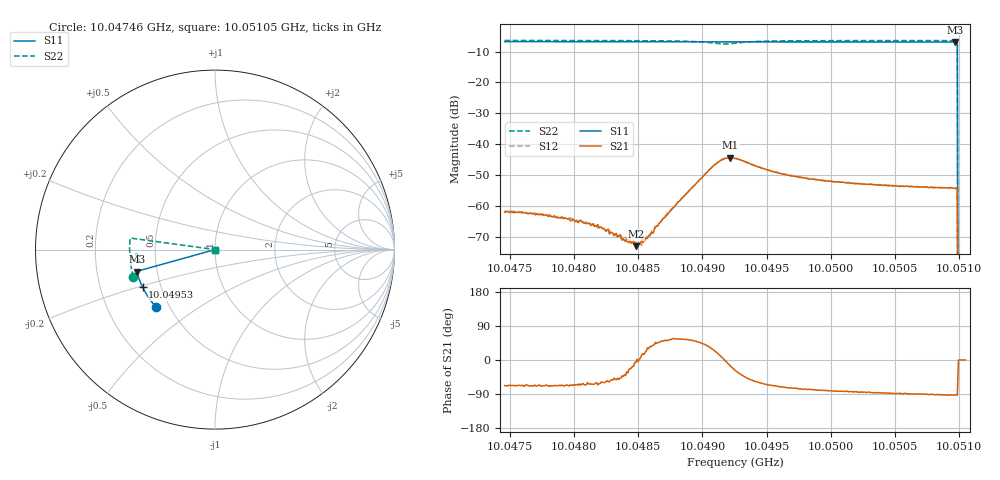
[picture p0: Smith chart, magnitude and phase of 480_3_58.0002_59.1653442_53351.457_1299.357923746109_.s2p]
#  HZ  S  RI  R  50.00
! Rohde & Schwarz Vector Network Analyzer
! Rohde-Schwarz,ZNB20-2Port,1311601062101988,3.16
! Created: UTC 3/21/2024, 1:11:51 AM
! freq[Hz]  re:S11  im:S11  re:S21  im:S21  re:S12  im:S12  re:S22  im:S22
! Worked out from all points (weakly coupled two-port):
!   401 points, 10.04746 GHz to 10.05105 GHz, reference 50 ohm
!   highest |S21| = -44.35 dB at 10.04922 GHz (marker M1); lowest = -73.0 dB at 10.04848 GHz (marker M2)
!   lowest |S11| = -6.9 dB at 10.05097 GHz (marker M3), VSWR 2.65, Z = 19.2 - j5.89 ohm
!   |S11| at or under -10 dB: 10.05099 GHz to end of sweep
!   |S22| runs from - to -6.4 dB; largest |S21 - S12| = 0.00043
!   S11 on the Smith chart (normalised r, x): 10.04746 GHz: 0.42, -0.35; 10.04953 GHz: 0.39, -0.21; 10.05105 GHz: 1.00, +0.00
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1.0047458e10  -0.326 -0.3224  0.000306 -0.000731  0.000373 -0.000756  -0.4541 -0.1526
1.0047818e10  -0.3415 -0.3044  0.000262 -0.000635  0.000297 -0.00062  -0.4604 -0.1286
1.004806e10  -0.3516 -0.2919  0.000246 -0.000497  0.000268 -0.000482  -0.4642 -0.1119
1.0048204e10  -0.3574 -0.2845  0.000213 -0.000403  0.000265 -0.000374  -0.4661 -0.1017
1.0048347e10  -0.363 -0.2769  0.000203 -0.000258  0.00025 -0.000245  -0.4676 -0.0909
1.0048383e10  -0.3644 -0.2749  0.000213 -0.000205  0.000252 -0.000187  -0.4678 -0.0881
1.0048482e10  -0.368 -0.2696  0.000222 -2.47e-05  0.000258 -3.36e-06  -0.4683 -0.0802
1.0048509e10  -0.3691 -0.2682  0.000248 8.24e-06  0.000263 4.64e-05  -0.4686 -0.0781
1.0048554e10  -0.3708 -0.2657  0.000288 0.000109  0.000258 9.69e-05  -0.4686 -0.0744
1.0048572e10  -0.3715 -0.2648  0.000253 0.000159  0.00027 0.000187  -0.4687 -0.0728
1.0048662e10  -0.3748 -0.2598  0.00036 0.000378  0.000337 0.000398  -0.4683 -0.065
1.0048742e10  -0.3775 -0.2554  0.000476 0.000645  0.000426 0.000684  -0.4674 -0.0571
1.0049075e10  -0.3885 -0.2363  0.00366 0.00209  0.00355 0.00234  -0.4366 -0.0264
1.0049146e10  -0.3906 -0.2325  0.00544 0.000835  0.00542 0.00122  -0.4215 -0.0362
1.0049218e10  -0.3929 -0.2285  0.00583 -0.00164  0.00594 -0.00128  -0.4216 -0.0559
1.0049254e10  -0.394 -0.2266  0.00525 -0.00268  0.00548 -0.00232  -0.4284 -0.063
1.0049532e10  -0.4028 -0.2105  0.00148 -0.00341  0.00167 -0.00334  -0.4669 -0.0464
1.0049856e10  -0.4118 -0.1913  0.000561 -0.00267  0.000708 -0.00264  -0.4746 -0.0169
1.0050457e10  -0.426 -0.1544  6.59e-05 -0.0021  0.000206 -0.00217  -0.4753 0.028
1.0050969e10  -0.4354 -0.1223  -6.68e-05 -0.0019  5.21e-05 -0.00192  -0.4719 0.063
1.0051014e10  0 0  0 0  0 0  0 0
1.005105e10  0 0  0 0  0 0  0 0
